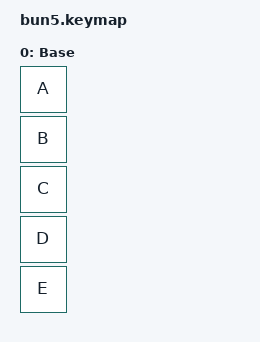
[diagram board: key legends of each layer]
#include <behaviors.dtsi>
#include <dt-bindings/zmk/keys.h>
#include <dt-bindings/zmk/bt.h>
#include <dt-bindings/zmk/outputs.h>

/ {
    keymap {
        compatible = "zmk,keymap";

        default_layer {
            display-name = "Base";
            bindings = <
                &kp A
                &kp B
                &kp C
                &kp D
                &kp E
            >;
        };
    };
};

/ {
    combos {
        compatible = "zmk,combos";
    combo_A {
            timeout-ms = <50>;
            key-positions = <4>;
            bindings = <&kp A>;
        };
        
    combo_B {
            timeout-ms = <50>;
            key-positions = <3>;
            bindings = <&kp B>;
        };
        
    combo_C {
            timeout-ms = <50>;
            key-positions = <4 3>;
            bindings = <&kp C>;
        };
        
    combo_D {
            timeout-ms = <50>;
            key-positions = <2>;
            bindings = <&kp D>;
        };
        
    combo_E {
            timeout-ms = <50>;
            key-positions = <4 2>;
            bindings = <&kp E>;
        };
        
    combo_F {
            timeout-ms = <50>;
            key-positions = <3 2>;
            bindings = <&kp F>;
        };
        
    combo_G {
            timeout-ms = <50>;
            key-positions = <4 3 2>;
            bindings = <&kp G>;
        };
        
    combo_H {
            timeout-ms = <50>;
            key-positions = <1>;
            bindings = <&kp H>;
        };
        
    combo_I {
            timeout-ms = <50>;
            key-positions = <4 1>;
            bindings = <&kp I>;
        };
        
    combo_J {
            timeout-ms = <50>;
            key-positions = <3 1>;
            bindings = <&kp J>;
        };
        
    combo_K {
            timeout-ms = <50>;
            key-positions = <4 3 1>;
            bindings = <&kp K>;
        };
        
    combo_L {
            timeout-ms = <50>;
            key-positions = <2 1>;
            bindings = <&kp L>;
        };
        
    combo_M {
            timeout-ms = <50>;
            key-positions = <4 2 1>;
            bindings = <&kp M>;
        };
        
    combo_N {
            timeout-ms = <50>;
            key-positions = <3 2 1>;
            bindings = <&kp N>;
        };
        
    combo_O {
            timeout-ms = <50>;
            key-positions = <4 3 2 1>;
            bindings = <&kp O>;
        };
        
    combo_P {
            timeout-ms = <50>;
            key-positions = <0>;
            bindings = <&kp P>;
        };
        
    combo_Q {
            timeout-ms = <50>;
            key-positions = <4 0>;
            bindings = <&kp Q>;
        };
        
    combo_R {
            timeout-ms = <50>;
            key-positions = <3 0>;
            bindings = <&kp R>;
        };
        
    combo_S {
            timeout-ms = <50>;
            key-positions = <4 3 0>;
            bindings = <&kp S>;
        };
        
    combo_T {
            timeout-ms = <50>;
            key-positions = <2 0>;
            bindings = <&kp T>;
        };
        
    combo_U {
            timeout-ms = <50>;
            key-positions = <4 2 0>;
            bindings = <&kp U>;
        };
        
    combo_V {
            timeout-ms = <50>;
            key-positions = <3 2 0>;
            bindings = <&kp V>;
        };
        
    combo_W {
            timeout-ms = <50>;
            key-positions = <4 3 2 0>;
            bindings = <&kp W>;
        };
        
    combo_X {
            timeout-ms = <50>;
            key-positions = <1 0>;
            bindings = <&kp X>;
        };
        
    combo_Y {
            timeout-ms = <50>;
            key-positions = <4 1 0>;
            bindings = <&kp Y>;
        };
        
    combo_Z {
            timeout-ms = <50>;
            key-positions = <3 1 0>;
            bindings = <&kp Z>;
        };

    combo_OUT_TOG {
        timeout-ms = <50>;
        key-positions = <0 1 2 3>;
        bindings = <&out OUT_TOG>;
    };

    combo_BT_CLR {
        timeout-ms = <50>;
        key-positions = <0 1 2 3 4>;
        bindings = <&bt BT_CLR>;
        };
    };
};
